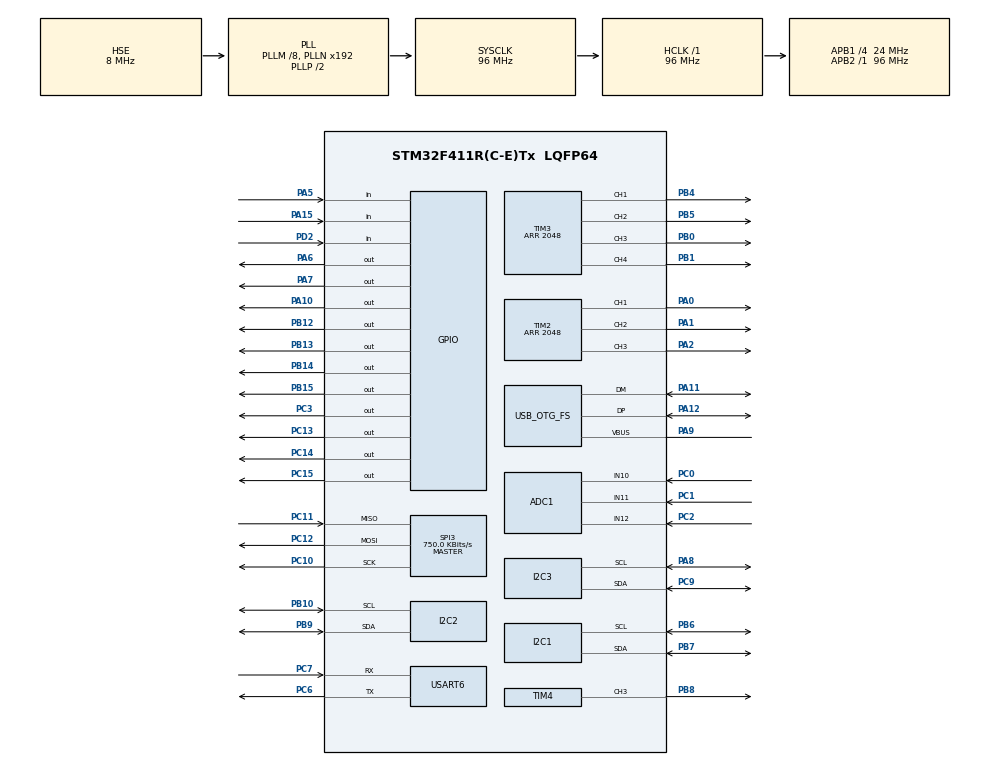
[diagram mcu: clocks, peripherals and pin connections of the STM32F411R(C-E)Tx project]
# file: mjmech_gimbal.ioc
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ADC1.Channel-0\#ChannelRegularConversion=ADC_CHANNEL_TEMPSENSOR
ADC1.ClockPrescaler=ADC_CLOCKPRESCALER_PCLK_DIV8
ADC1.NbrOfConversionFlag=1
ADC1.Rank-0\#ChannelRegularConversion=1
ADC1.SamplingTime-0\#ChannelRegularConversion=ADC_SAMPLETIME_3CYCLES
ADC1.master=1
Dma.I2C1_RX.1.Channel=DMA_CHANNEL_1
Dma.I2C1_RX.1.Direction=DMA_PERIPH_TO_MEMORY
Dma.I2C1_RX.1.FIFOMode=DMA_FIFOMODE_DISABLE
Dma.I2C1_RX.1.Instance=DMA1_Stream0
Dma.I2C1_RX.1.MemDataAlignment=DMA_MDATAALIGN_BYTE
Dma.I2C1_RX.1.MemInc=DMA_MINC_ENABLE
Dma.I2C1_RX.1.Mode=DMA_NORMAL
Dma.I2C1_RX.1.PeriphDataAlignment=DMA_PDATAALIGN_BYTE
Dma.I2C1_RX.1.PeriphInc=DMA_PINC_DISABLE
Dma.I2C1_RX.1.Priority=DMA_PRIORITY_LOW
Dma.I2C1_TX.0.Channel=DMA_CHANNEL_1
Dma.I2C1_TX.0.Direction=DMA_MEMORY_TO_PERIPH
Dma.I2C1_TX.0.FIFOMode=DMA_FIFOMODE_DISABLE
Dma.I2C1_TX.0.Instance=DMA1_Stream6
Dma.I2C1_TX.0.MemDataAlignment=DMA_MDATAALIGN_BYTE
Dma.I2C1_TX.0.MemInc=DMA_MINC_ENABLE
Dma.I2C1_TX.0.Mode=DMA_NORMAL
Dma.I2C1_TX.0.PeriphDataAlignment=DMA_PDATAALIGN_BYTE
Dma.I2C1_TX.0.PeriphInc=DMA_PINC_DISABLE
Dma.I2C1_TX.0.Priority=DMA_PRIORITY_LOW
Dma.I2C2_RX.2.Channel=DMA_CHANNEL_7
Dma.I2C2_RX.2.Direction=DMA_PERIPH_TO_MEMORY
Dma.I2C2_RX.2.FIFOMode=DMA_FIFOMODE_DISABLE
Dma.I2C2_RX.2.Instance=DMA1_Stream3
Dma.I2C2_RX.2.MemDataAlignment=DMA_MDATAALIGN_BYTE
Dma.I2C2_RX.2.MemInc=DMA_MINC_ENABLE
Dma.I2C2_RX.2.Mode=DMA_NORMAL
Dma.I2C2_RX.2.PeriphDataAlignment=DMA_PDATAALIGN_BYTE
Dma.I2C2_RX.2.PeriphInc=DMA_PINC_DISABLE
Dma.I2C2_RX.2.Priority=DMA_PRIORITY_LOW
Dma.I2C2_TX.3.Channel=DMA_CHANNEL_7
Dma.I2C2_TX.3.Direction=DMA_MEMORY_TO_PERIPH
Dma.I2C2_TX.3.FIFOMode=DMA_FIFOMODE_DISABLE
Dma.I2C2_TX.3.Instance=DMA1_Stream7
Dma.I2C2_TX.3.MemDataAlignment=DMA_MDATAALIGN_BYTE
Dma.I2C2_TX.3.MemInc=DMA_MINC_ENABLE
Dma.I2C2_TX.3.Mode=DMA_NORMAL
Dma.I2C2_TX.3.PeriphDataAlignment=DMA_PDATAALIGN_BYTE
Dma.I2C2_TX.3.PeriphInc=DMA_PINC_DISABLE
Dma.I2C2_TX.3.Priority=DMA_PRIORITY_LOW
Dma.I2C3_RX.6.Channel=DMA_CHANNEL_1
Dma.I2C3_RX.6.Direction=DMA_PERIPH_TO_MEMORY
Dma.I2C3_RX.6.FIFOMode=DMA_FIFOMODE_DISABLE
Dma.I2C3_RX.6.Instance=DMA1_Stream1
Dma.I2C3_RX.6.MemDataAlignment=DMA_MDATAALIGN_BYTE
Dma.I2C3_RX.6.MemInc=DMA_MINC_ENABLE
Dma.I2C3_RX.6.Mode=DMA_NORMAL
Dma.I2C3_RX.6.PeriphDataAlignment=DMA_PDATAALIGN_BYTE
Dma.I2C3_RX.6.PeriphInc=DMA_PINC_DISABLE
Dma.I2C3_RX.6.Priority=DMA_PRIORITY_LOW
Dma.I2C3_TX.7.Channel=DMA_CHANNEL_3
Dma.I2C3_TX.7.Direction=DMA_MEMORY_TO_PERIPH
Dma.I2C3_TX.7.FIFOMode=DMA_FIFOMODE_DISABLE
Dma.I2C3_TX.7.Instance=DMA1_Stream4
Dma.I2C3_TX.7.MemDataAlignment=DMA_MDATAALIGN_BYTE
Dma.I2C3_TX.7.MemInc=DMA_MINC_ENABLE
Dma.I2C3_TX.7.Mode=DMA_NORMAL
Dma.I2C3_TX.7.PeriphDataAlignment=DMA_PDATAALIGN_BYTE
Dma.I2C3_TX.7.PeriphInc=DMA_PINC_DISABLE
Dma.I2C3_TX.7.Priority=DMA_PRIORITY_LOW
Dma.Request0=I2C1_TX
Dma.Request1=I2C1_RX
Dma.Request2=I2C2_RX
Dma.Request3=I2C2_TX
Dma.Request4=SPI3_RX
Dma.Request5=SPI3_TX
Dma.Request6=I2C3_RX
Dma.Request7=I2C3_TX
Dma.Request8=USART6_RX
Dma.Request9=USART6_TX
Dma.SPI3_RX.4.Channel=DMA_CHANNEL_0
Dma.SPI3_RX.4.Direction=DMA_PERIPH_TO_MEMORY
Dma.SPI3_RX.4.FIFOMode=DMA_FIFOMODE_DISABLE
Dma.SPI3_RX.4.Instance=DMA1_Stream2
Dma.SPI3_RX.4.MemDataAlignment=DMA_MDATAALIGN_BYTE
Dma.SPI3_RX.4.MemInc=DMA_MINC_ENABLE
Dma.SPI3_RX.4.Mode=DMA_NORMAL
Dma.SPI3_RX.4.PeriphDataAlignment=DMA_PDATAALIGN_BYTE
Dma.SPI3_RX.4.PeriphInc=DMA_PINC_DISABLE
Dma.SPI3_RX.4.Priority=DMA_PRIORITY_LOW
Dma.SPI3_TX.5.Channel=DMA_CHANNEL_0
Dma.SPI3_TX.5.Direction=DMA_MEMORY_TO_PERIPH
Dma.SPI3_TX.5.FIFOMode=DMA_FIFOMODE_DISABLE
Dma.SPI3_TX.5.Instance=DMA1_Stream5
Dma.SPI3_TX.5.MemDataAlignment=DMA_MDATAALIGN_BYTE
Dma.SPI3_TX.5.MemInc=DMA_MINC_ENABLE
Dma.SPI3_TX.5.Mode=DMA_NORMAL
Dma.SPI3_TX.5.PeriphDataAlignment=DMA_PDATAALIGN_BYTE
Dma.SPI3_TX.5.PeriphInc=DMA_PINC_DISABLE
Dma.SPI3_TX.5.Priority=DMA_PRIORITY_LOW
Dma.USART6_RX.8.Channel=DMA_CHANNEL_5
Dma.USART6_RX.8.Direction=DMA_PERIPH_TO_MEMORY
Dma.USART6_RX.8.FIFOMode=DMA_FIFOMODE_DISABLE
Dma.USART6_RX.8.Instance=DMA2_Stream1
Dma.USART6_RX.8.MemDataAlignment=DMA_MDATAALIGN_BYTE
Dma.USART6_RX.8.MemInc=DMA_MINC_ENABLE
Dma.USART6_RX.8.Mode=DMA_NORMAL
Dma.USART6_RX.8.PeriphDataAlignment=DMA_PDATAALIGN_BYTE
Dma.USART6_RX.8.PeriphInc=DMA_PINC_DISABLE
Dma.USART6_RX.8.Priority=DMA_PRIORITY_LOW
Dma.USART6_TX.9.Channel=DMA_CHANNEL_5
Dma.USART6_TX.9.Direction=DMA_MEMORY_TO_PERIPH
Dma.USART6_TX.9.FIFOMode=DMA_FIFOMODE_DISABLE
Dma.USART6_TX.9.Instance=DMA2_Stream6
Dma.USART6_TX.9.MemDataAlignment=DMA_MDATAALIGN_BYTE
Dma.USART6_TX.9.MemInc=DMA_MINC_ENABLE
Dma.USART6_TX.9.Mode=DMA_NORMAL
Dma.USART6_TX.9.PeriphDataAlignment=DMA_PDATAALIGN_BYTE
Dma.USART6_TX.9.PeriphInc=DMA_PINC_DISABLE
Dma.USART6_TX.9.Priority=DMA_PRIORITY_LOW
I2C1.DutyCycle=I2C_DUTYCYCLE_16_9
I2C1.I2C_Mode=I2C_Fast
I2C2.DutyCycle=I2C_DUTYCYCLE_16_9
I2C2.I2C_Mode=I2C_Fast
I2C3.DutyCycle=I2C_DUTYCYCLE_16_9
I2C3.I2C_Mode=I2C_Fast
Mcu.Family=STM32F4
Mcu.Name=STM32F411R(C-E)Tx
Mcu.Package=LQFP64
NVIC.ADC_IRQn=true\:0\:0\:false
NVIC.DMA1_Stream0_IRQn=true\:0\:0\:false
NVIC.DMA1_Stream1_IRQn=true\:0\:0\:false
NVIC.DMA1_Stream2_IRQn=true\:0\:0\:false
NVIC.DMA1_Stream3_IRQn=true\:0\:0\:false
NVIC.DMA1_Stream4_IRQn=true\:0\:0\:false
NVIC.DMA1_Stream5_IRQn=true\:0\:0\:false
NVIC.DMA1_Stream6_IRQn=true\:0\:0\:false
NVIC.DMA1_Stream7_IRQn=true\:0\:0\:false
NVIC.DMA2_Stream1_IRQn=true\:0\:0\:false
NVIC.DMA2_Stream6_IRQn=true\:0\:0\:false
NVIC.I2C1_ER_IRQn=true\:0\:0\:false
NVIC.I2C1_EV_IRQn=true\:0\:0\:false
NVIC.I2C2_ER_IRQn=true\:0\:0\:false
NVIC.I2C2_EV_IRQn=true\:0\:0\:false
NVIC.I2C3_ER_IRQn=true\:0\:0\:false
NVIC.I2C3_EV_IRQn=true\:0\:0\:false
NVIC.OTG_FS_IRQn=true\:0\:0\:false
NVIC.PriorityGroup=NVIC_PRIORITYGROUP_4
NVIC.SPI3_IRQn=true\:0\:0\:false
NVIC.USART6_IRQn=true\:0\:0\:false
PA0-WKUP.Signal=S_TIM2_CH1_ETR
PA1.Signal=S_TIM2_CH2
PA10.Signal=GPIO_Output
PA11.Mode=Device_Only
PA11.Signal=USB_OTG_FS_DM
PA12.Mode=Device_Only
PA12.Signal=USB_OTG_FS_DP
PA13.Mode=Serial-Wire
PA13.Signal=SYS_JTMS-SWDIO
PA14.Mode=Serial-Wire
PA14.Signal=SYS_JTCK-SWCLK
PA15.Signal=GPIO_Input
PA2.Signal=S_TIM2_CH3
PA5.Signal=GPIO_Input
PA6.Signal=GPIO_Output
PA7.Signal=GPIO_Output
PA8.Mode=I2C
PA8.Signal=I2C3_SCL
PA9.Mode=Activate_VBUS
PA9.Signal=USB_OTG_FS_VBUS
PB0.Signal=S_TIM3_CH3
PB1.Signal=S_TIM3_CH4
PB10.Mode=I2C
PB10.Signal=I2C2_SCL
PB12.Signal=GPIO_Output
PB13.Signal=GPIO_Output
PB14.Signal=GPIO_Output
PB15.Signal=GPIO_Output
PB4.Signal=S_TIM3_CH1
PB5.Signal=S_TIM3_CH2
PB6.Mode=I2C
PB6.Signal=I2C1_SCL
PB7.Mode=I2C
PB7.Signal=I2C1_SDA
PB8.Signal=S_TIM4_CH3
PB9.Mode=I2C
PB9.Signal=I2C2_SDA
PC0.Signal=ADCx_IN10
PC1.Signal=ADCx_IN11
PC10.Mode=Full_Duplex_Master
PC10.Signal=SPI3_SCK
PC11.Mode=Full_Duplex_Master
PC11.Signal=SPI3_MISO
PC12.Mode=Full_Duplex_Master
PC12.Signal=SPI3_MOSI
PC13-ANTI_TAMP.Signal=GPIO_Output
PC14-OSC32_IN.Signal=GPIO_Output
PC15-OSC32_OUT.Signal=GPIO_Output
PC2.Signal=ADCx_IN12
PC3.Signal=GPIO_Output
PC6.Mode=Asynchronous
PC6.Signal=USART6_TX
PC7.Mode=Asynchronous
PC7.Signal=USART6_RX
PC9.Mode=I2C
PC9.Signal=I2C3_SDA
PD2.Signal=GPIO_Input
PH0\ -\ OSC_IN.Mode=HSE-External-Oscillator
PH0\ -\ OSC_IN.Signal=RCC_OSC_IN
PH1\ -\ OSC_OUT.Mode=HSE-External-Oscillator
PH1\ -\ OSC_OUT.Signal=RCC_OSC_OUT
ProjectManager.TargetToolchain=TrueSTUDIO
RCC.48MHZClocksFreq_Value=48000000
RCC.AHBFreq_Value=96000000
RCC.APB1CLKDivider=RCC_HCLK_DIV4
RCC.APB1Freq_Value=24000000
RCC.APB1TimFreq_Value=48000000
RCC.APB2Freq_Value=96000000
RCC.APB2TimFreq_Value=96000000
RCC.CortexFreq_Value=96000000
RCC.HCLKFreq_Value=96000000
RCC.HSE_VALUE=8000000
RCC.HSI_VALUE=16000000
RCC.LSE_VALUE=32768
RCC.PLLM=8
RCC.SYSCLKFreq_VALUE=96000000
RCC.SYSCLKSource=RCC_SYSCLKSOURCE_PLLCLK
RCC.VCOOutputFreq_Value=192000000
SH.ADCx_IN10.0=ADC1_IN10,IN10
SH.ADCx_IN11.0=ADC1_IN11,IN11
SH.ADCx_IN12.0=ADC1_IN12,IN12
SH.S_TIM2_CH1_ETR.0=TIM2_CH1,PWM Generation1 CH1
SH.S_TIM2_CH2.0=TIM2_CH2,PWM Generation2 CH2
SH.S_TIM2_CH3.0=TIM2_CH3,PWM Generation3 CH3
SH.S_TIM3_CH1.0=TIM3_CH1,PWM Generation1 CH1
SH.S_TIM3_CH2.0=TIM3_CH2,PWM Generation2 CH2
SH.S_TIM3_CH3.0=TIM3_CH3,PWM Generation3 CH3
SH.S_TIM3_CH4.0=TIM3_CH4,PWM Generation4 CH4
SH.S_TIM4_CH3.0=TIM4_CH3,PWM Generation3 CH3
SPI3.BaudRatePrescaler=SPI_BAUDRATEPRESCALER_32
SPI3.CLKPhase=SPI_PHASE_2EDGE
SPI3.CalculateBaudRate=750.0 KBits/s
SPI3.Mode=SPI_MODE_MASTER
TIM2.Channel-PWM\ Generation2\ CH2=TIM_CHANNEL_2
TIM2.Channel-PWM\ Generation3\ CH3=TIM_CHANNEL_3
TIM2.Period=2048
TIM3.Channel-PWM\ Generation2\ CH2=TIM_CHANNEL_2
TIM3.Channel-PWM\ Generation3\ CH3=TIM_CHANNEL_3
TIM3.Channel-PWM\ Generation4\ CH4=TIM_CHANNEL_4
TIM3.Period=2048
TIM4.Channel-PWM\ Generation3\ CH3=TIM_CHANNEL_3
TIM4.Period=2048
TIM5.Period=4294967295
TIM5.Prescaler=4800
USB_DEVICE.USBD_HandleTypeDef=hUsbDeviceFS
USB_DEVICE.VirtualMode=Cdc
USB_DEVICE.VirtualModeFS=Cdc_FS
USB_OTG_FS.VirtualMode=Device_Only
VP_ADC1_TempSens_Input.Mode=IN-TempSens
VP_CRC_VS_CRC.Mode=CRC_Activate
VP_IWDG_VS_IWDG.Mode=IWDG_Activate
VP_TIM2_VS_ClockSourceINT.Mode=Internal
VP_TIM3_VS_ClockSourceINT.Mode=Internal
VP_TIM5_VS_ClockSourceINT.Mode=Internal
VP_USB_DEVICE_VS_USB_DEVICE_CDC_FS.Mode=CDC_FS
board=mjmech_gimbal

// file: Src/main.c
/**
  ******************************************************************************
  * File Name          : main.c
  * Description        : Main program body
  ******************************************************************************
  *
  * COPYRIGHT(c) 2015 STMicroelectronics
  *
  * Redistribution and use in source and binary forms, with or without modification,
  * are permitted provided that the following conditions are met:
  *   1. Redistributions of source code must retain the above copyright notice,
  *      this list of conditions and the following disclaimer.
  *   2. Redistributions in binary form must reproduce the above copyright notice,
  *      this list of conditions and the following disclaimer in the documentation
  *      and/or other materials provided with the distribution.
  *   3. Neither the name of STMicroelectronics nor the names of its contributors
  *      may be used to endorse or promote products derived from this software
  *      without specific prior written permission.
  *
  * THIS SOFTWARE IS PROVIDED BY THE COPYRIGHT HOLDERS AND CONTRIBUTORS "AS IS"
  * AND ANY EXPRESS OR IMPLIED WARRANTIES, INCLUDING, BUT NOT LIMITED TO, THE
  * IMPLIED WARRANTIES OF MERCHANTABILITY AND FITNESS FOR A PARTICULAR PURPOSE ARE
  * DISCLAIMED. IN NO EVENT SHALL THE COPYRIGHT HOLDER OR CONTRIBUTORS BE LIABLE
  * FOR ANY DIRECT, INDIRECT, INCIDENTAL, SPECIAL, EXEMPLARY, OR CONSEQUENTIAL
  * DAMAGES (INCLUDING, BUT NOT LIMITED TO, PROCUREMENT OF SUBSTITUTE GOODS OR
  * SERVICES; LOSS OF USE, DATA, OR PROFITS; OR BUSINESS INTERRUPTION) HOWEVER
  * CAUSED AND ON ANY THEORY OF LIABILITY, WHETHER IN CONTRACT, STRICT LIABILITY,
  * OR TORT (INCLUDING NEGLIGENCE OR OTHERWISE) ARISING IN ANY WAY OUT OF THE USE
  * OF THIS SOFTWARE, EVEN IF ADVISED OF THE POSSIBILITY OF SUCH DAMAGE.
  *
  ******************************************************************************
  */
#include <assert.h>
#include <stdlib.h>

#include "stm32f4xx_hal.h"
#include "adc.h"
#include "crc.h"
#include "dma.h"
#include "i2c.h"
#include "iwdg.h"
#include "spi.h"
#include "tim.h"
#include "usart.h"
#include "usb_device.h"
#include "gpio.h"

/* USER CODE BEGIN Includes */

#include "gimbal.h"

/* USER CODE END Includes */

/* USER CODE BEGIN PV */
/* Private variables ---------------------------------------------------------*/

/* USER CODE END PV */

void SystemClock_Config(void);

/* USER CODE BEGIN PFP */
/* Private function prototypes -----------------------------------------------*/

/* USER CODE END PFP */

/* USER CODE BEGIN 0 */

char* heap_end = 0;

caddr_t _sbrk(int incr) {
  // assert(0);
  extern char _heap_start;

  if (heap_end == 0) { heap_end = &_heap_start; }

  char* prev_heap_end = heap_end;
  heap_end += incr;
  return (caddr_t) prev_heap_end;
}

int _close(int file) { return -1; }

struct stat;
int _fstat(int file, struct stat *st) { return -1; }

int _isatty(int file) { return 1; }

int _lseek(int file, int ptr, int dir) { return 0; }

int _open(const char *name, int flags, int mode) { return -1; }

int _read(int file, char* ptr, int len) { return -1; }

int _write(int file, char *ptr, int len) { return -1; }

void _exit(int foo) { while (1) {} }

int _kill(int foo) { return -1; }

int _getpid() { return -1; }

int __aebi_atext(void *object,
                 void (*destructor)(void *),
                 void *dso_handle) {
  return 0;
}

/* USER CODE END 0 */

int main(void)
{

  /* MCU Configuration----------------------------------------------------------*/

  /* Reset of all peripherals, Initializes the Flash interface and the Systick. */
  HAL_Init();

  /* Configure the system clock */
  SystemClock_Config();

  /* Initialize all configured peripherals */
  MX_GPIO_Init();
  MX_DMA_Init();
  MX_ADC1_Init();
  MX_CRC_Init();
  MX_I2C1_Init();
  MX_I2C2_Init();
  MX_I2C3_Init();
  /* TODO jpieper: Re-enable this when we want watchdog support. */
  /* MX_IWDG_Init(); */
  MX_SPI3_Init();
  MX_TIM2_Init();
  MX_TIM3_Init();
  MX_TIM4_Init();
  MX_TIM5_Init();
  MX_USART6_UART_Init();
  MX_USB_DEVICE_Init();

  /* USER CODE BEGIN 2 */

  gimbal_main();

  /* USER CODE END 2 */

  /* Infinite loop */
  while (1)
  {

  }

}

/** System Clock Configuration
*/
void SystemClock_Config(void)
{

  RCC_OscInitTypeDef RCC_OscInitStruct;
  RCC_ClkInitTypeDef RCC_ClkInitStruct;

  __PWR_CLK_ENABLE();

  __HAL_PWR_VOLTAGESCALING_CONFIG(PWR_REGULATOR_VOLTAGE_SCALE1);

  RCC_OscInitStruct.OscillatorType = RCC_OSCILLATORTYPE_LSI|RCC_OSCILLATORTYPE_HSE;
  RCC_OscInitStruct.HSEState = RCC_HSE_ON;
  RCC_OscInitStruct.LSIState = RCC_LSI_ON;
  RCC_OscInitStruct.PLL.PLLState = RCC_PLL_ON;
  RCC_OscInitStruct.PLL.PLLSource = RCC_PLLSOURCE_HSE;
  RCC_OscInitStruct.PLL.PLLM = 8;
  RCC_OscInitStruct.PLL.PLLN = 192;
  RCC_OscInitStruct.PLL.PLLP = RCC_PLLP_DIV2;
  RCC_OscInitStruct.PLL.PLLQ = 4;
  HAL_RCC_OscConfig(&RCC_OscInitStruct);

  RCC_ClkInitStruct.ClockType = RCC_CLOCKTYPE_SYSCLK|RCC_CLOCKTYPE_PCLK1;
  RCC_ClkInitStruct.SYSCLKSource = RCC_SYSCLKSOURCE_PLLCLK;
  RCC_ClkInitStruct.AHBCLKDivider = RCC_SYSCLK_DIV1;
  RCC_ClkInitStruct.APB1CLKDivider = RCC_HCLK_DIV4;
  RCC_ClkInitStruct.APB2CLKDivider = RCC_HCLK_DIV1;
  HAL_RCC_ClockConfig(&RCC_ClkInitStruct, FLASH_LATENCY_3);

  HAL_SYSTICK_Config(HAL_RCC_GetHCLKFreq()/1000);

  HAL_SYSTICK_CLKSourceConfig(SYSTICK_CLKSOURCE_HCLK);

  /* SysTick_IRQn interrupt configuration */
  HAL_NVIC_SetPriority(SysTick_IRQn, 0, 0);
}

/************************ (C) COPYRIGHT STMicroelectronics *****END OF FILE****/
